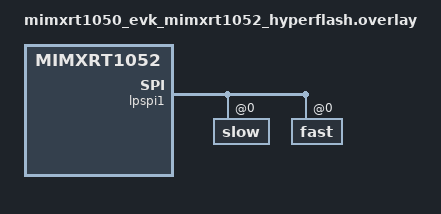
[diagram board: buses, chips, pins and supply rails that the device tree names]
/*
 * Copyright (c) 2024 NXP
 *
 * SPDX-License-Identifier: Apache-2.0
 */

spi_loopback: &lpspi1 {
	transfer-delay = <100>;
	sck-pcs-delay = <200>;
	pcs-sck-delay = <200>;

	slow@0 {
		spi-cs-setup-delay-ns = <1000>;
		spi-cs-hold-delay-ns = <1000>;
		spi-interframe-delay-ns = <1000>;
	};

	fast@0 {
		spi-cs-setup-delay-ns = <100>;
		spi-cs-hold-delay-ns = <100>;
	};
};

#include "../spi-loopback.dtsi"
